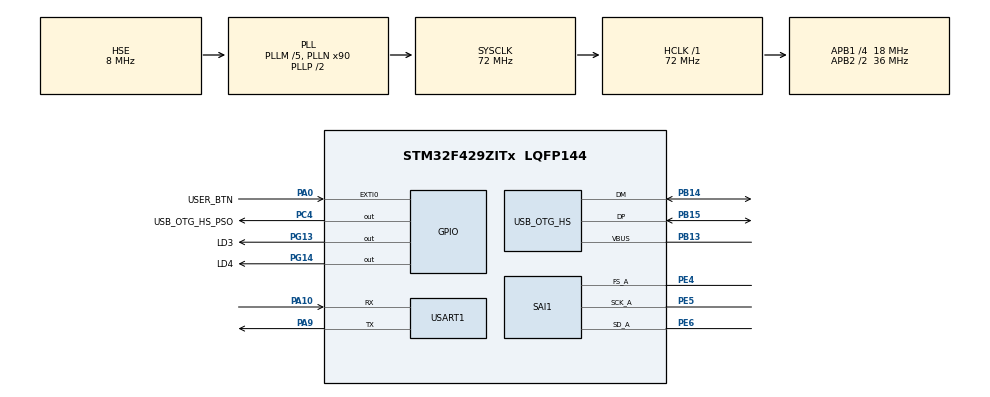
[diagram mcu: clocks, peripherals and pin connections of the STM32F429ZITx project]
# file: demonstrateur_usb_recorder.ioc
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Dma.Request0=SAI1_A
Dma.SAI1_A.0.Direction=DMA_PERIPH_TO_MEMORY
Dma.SAI1_A.0.FIFOMode=DMA_FIFOMODE_DISABLE
Dma.SAI1_A.0.Instance=DMA2_Stream1
Dma.SAI1_A.0.MemDataAlignment=DMA_MDATAALIGN_HALFWORD
Dma.SAI1_A.0.MemInc=DMA_MINC_ENABLE
Dma.SAI1_A.0.Mode=DMA_CIRCULAR
Dma.SAI1_A.0.PeriphDataAlignment=DMA_PDATAALIGN_HALFWORD
Dma.SAI1_A.0.PeriphInc=DMA_PINC_DISABLE
Dma.SAI1_A.0.Priority=DMA_PRIORITY_LOW
FATFS._FS_EXFAT=1
FATFS._MAX_SS=4096
FATFS._USE_LFN=1
Mcu.Family=STM32F4
Mcu.Name=STM32F429ZITx
Mcu.Package=LQFP144
NVIC.DMA2_Stream1_IRQn=true\:0\:0\:false\:false\:true\:false\:true
NVIC.OTG_HS_IRQn=true\:0\:0\:false\:false\:true\:false\:true
NVIC.PriorityGroup=NVIC_PRIORITYGROUP_4
NVIC.TIM6_DAC_IRQn=true\:15\:0\:false\:false\:true\:false\:true
NVIC.TimeBase=TIM6_DAC_IRQn
NVIC.TimeBaseIP=TIM6
PA0/WKUP.GPIO_Label=USER_BTN
PA0/WKUP.GPIO_ModeDefaultEXTI=GPIO_MODE_EVT_RISING
PA0/WKUP.Signal=GPXTI0
PA10.Mode=Asynchronous
PA10.Signal=USART1_RX
PA13.Mode=Serial_Wire
PA13.Signal=SYS_JTMS-SWDIO
PA14.Mode=Serial_Wire
PA14.Signal=SYS_JTCK-SWCLK
PA9.Mode=Asynchronous
PA9.Signal=USART1_TX
PB13.Mode=Activate_VBUS_FS
PB13.Signal=USB_OTG_HS_VBUS
PB14.Mode=Host_FS
PB14.Signal=USB_OTG_HS_DM
PB15.Mode=Host_FS
PB15.Signal=USB_OTG_HS_DP
PC4.GPIO_Label=USB_OTG_HS_PSO
PC4.Signal=GPIO_Output
PE4.Mode=SAI_A_Master
PE4.Signal=SAI1_FS_A
PE5.Mode=SAI_A_Master
PE5.Signal=SAI1_SCK_A
PE6.Mode=SAI_A_Master
PE6.Signal=SAI1_SD_A
PG13.GPIO_Label=LD3
PG13.Signal=GPIO_Output
PG14.GPIO_Label=LD4
PG14.Signal=GPIO_Output
PH0/OSC_IN.Mode=HSE-External-Oscillator
PH0/OSC_IN.Signal=RCC_OSC_IN
PH1/OSC_OUT.Mode=HSE-External-Oscillator
PH1/OSC_OUT.Signal=RCC_OSC_OUT
ProjectManager.HeapSize=0x200
ProjectManager.StackSize=0x400
ProjectManager.TargetToolchain=STM32CubeIDE
RCC.48MHZClocksFreq_Value=48000000
RCC.AHBFreq_Value=72000000
RCC.APB1CLKDivider=RCC_HCLK_DIV4
RCC.APB1Freq_Value=18000000
RCC.APB1TimFreq_Value=36000000
RCC.APB2CLKDivider=RCC_HCLK_DIV2
RCC.APB2Freq_Value=36000000
RCC.APB2TimFreq_Value=72000000
RCC.CortexFreq_Value=72000000
RCC.HCLKFreq_Value=72000000
RCC.HSE_VALUE=8000000
RCC.HSI_VALUE=16000000
RCC.LSE_VALUE=32768
RCC.PLLI2SN=193
RCC.PLLM=5
RCC.PLLN=90
RCC.PLLQ=3
RCC.PLLSAIN=256
RCC.PLLSAIQ=5
RCC.SYSCLKFreq_VALUE=72000000
RCC.SYSCLKSource=RCC_SYSCLKSOURCE_PLLCLK
RCC.VCOOutputFreq_Value=144000000
SAI1.ActiveFrameLength-SAI_A_Master=32
SAI1.AudioFrequency-SAI_A_Master=SAI_AUDIO_FREQUENCY_32K
SAI1.AudioMode-SAI_A_Master=SAI_MODEMASTER_RX
SAI1.ClockStrobing-SAI_A_Master=SAI_CLOCKSTROBING_RISINGEDGE
SAI1.DataSize-SAI_A_Master=SAI_DATASIZE_16
SAI1.ErrorAudioFreq-SAI_A_Master=0.0 %
SAI1.FSDefinition-SAI_A_Master=SAI_FS_CHANNEL_IDENTIFICATION
SAI1.FrameLength-SAI_A_Master=64
SAI1.Instance-SAI_A_Master=SAI$Index_Block_A
SAI1.MClockEnable-SAI_A_Master=SAI_MASTERCLOCK_DISABLE
SAI1.NoDivider-SAI_A_Master=SAI_MASTERDIVIDER_ENABLE
SAI1.RealAudioFreq-SAI_A_Master=32.0 KHz
SAI1.SlotActive-SAI_A_Master=0x0000FFFF
SAI1.SlotNumber-SAI_A_Master=4
SAI1.Synchro_A=SAI_ASYNCHRONOUS
SAI1.VirtualMode-SAI_A_Master=VM_MASTER
SAI1.VirtualSlotActive-SAI_A_Master=SAI_SLOTACTIVE_ALL
USART1.VirtualMode=VM_ASYNC
USB_HOST.BSP.number=1
USB_HOST.USBH_HandleTypeDef-MSC_HS=hUsbHostHS
USB_HOST.VirtualModeHS=Msc
USB_HOST0.BSP.STBoard=false
USB_HOST0.BSP.api=Unknown
USB_HOST0.BSP.i2caddr=0
USB_HOST0.BSP.instance=PC4
USB_HOST0.BSP.ip=GPIO
USB_HOST0.BSP.mode=Output
USB_HOST0.BSP.name=Drive_VBUS_HS
USB_HOST0.BSP.solution=PC4
USB_OTG_HS.VirtualMode-Host_FS=Host_FS
VP_FATFS_VS_USB.Mode=USB
VP_SYS_VS_tim6.Mode=TIM6
VP_TIM1_VS_ClockSourceINT.Mode=Internal
VP_USB_HOST_VS_USB_HOST_MSC_HS.Mode=MSC_HS
board=custom

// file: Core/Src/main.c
/* USER CODE BEGIN Header */
/**
  ******************************************************************************
  * @file           : main.c
  * @brief          : Main program body
  ******************************************************************************
  * @attention
  *
  * <h2><center>&copy; Copyright (c) 2021 STMicroelectronics.
  * All rights reserved.</center></h2>
  *
  * This software component is licensed by ST under BSD 3-Clause license,
  * the "License"; You may not use this file except in compliance with the
  * License. You may obtain a copy of the License at:
  *                        opensource.org/licenses/BSD-3-Clause
  *
  ******************************************************************************
  */
/* USER CODE END Header */
#include "main.h"
#include "fatfs.h"
#include "usb_host.h"

/* USER CODE BEGIN Includes */
#include "pdm_fir.h"
#include <stdlib.h>
#include <string.h>
#include "file_handling.h"
/* USER CODE END Includes */

/* USER CODE BEGIN PTD */
#pragma clang diagnostic push
#pragma ide diagnostic ignored "EndlessLoop"
typedef enum program_state {
    IDLE, RECORDING
} program_state;
/* USER CODE END PTD */

/* USER CODE BEGIN PD */

#define SOUND_FS 32000
#define DECIMATION_FACTOR 64
#define WORD_SIZE 16

#define PDM_BUFFER_SIZE 128
#define PCM_BUFFER_SIZE PDM_BUFFER_SIZE / (DECIMATION_FACTOR / WORD_SIZE) // HERE PCM_BUFFER_SIZE = 128 / (64 / 16) = 32

#define BASE_FILE_NAME "output"

/* USER CODE END PD */

SAI_HandleTypeDef hsai_BlockA1;
DMA_HandleTypeDef hdma_sai1_a;

TIM_HandleTypeDef htim1;

UART_HandleTypeDef huart1;

/* USER CODE BEGIN PV */
//declaring Buffers and Buffer Indexes

uint16_t PDM_buffer[PDM_BUFFER_SIZE * 2]; // Double buffer for HALF READ
uint16_t PCM_buffer[PCM_BUFFER_SIZE];

char output_file[100];

uint8_t sai_flag = 1, sai_half = 0;

extern ApplicationTypeDef Appli_state;
/* USER CODE END PV */

void SystemClock_Config(void);

static void MX_GPIO_Init(void);

static void MX_DMA_Init(void);

static void MX_SAI1_Init(void);

static void MX_USART1_UART_Init(void);

static void MX_TIM1_Init(void);

void MX_USB_HOST_Process(void);

/* USER CODE BEGIN 0 */

// Configuring SAI Interruption Callbacks
void HAL_SAI_RxHalfCpltCallback(SAI_HandleTypeDef *hsai) {
    sai_flag = 0;
    sai_half = 0;
}

void HAL_SAI_RxCpltCallback(SAI_HandleTypeDef *hsai) {
    sai_flag = 0;
    sai_half = 1;
}

// function to Filter a chunk of PDM_DATA
size_t filter_pdm_chunk(struct pdm_fir_filter *filter, uint16_t *pcm_buffer, uint16_t *pdm_buffer, size_t pdm_size,
                        uint16_t decimation, uint16_t linear_gain) {
    uint16_t decimation_words = decimation / WORD_SIZE;
    size_t pcm_to_write = pdm_size / decimation_words;
    for (size_t i = 0; i < pcm_to_write; i++) {
        for (size_t j = 0; j < decimation_words; j++) {
            pdm_fir_flt_put(filter, pdm_buffer[i * decimation_words + j]);
        }
        int32_t received_pcm = pdm_fir_flt_get(filter, 16);
        received_pcm -= 820;
        received_pcm *= linear_gain;
        if (received_pcm > 0x7FFF) received_pcm = 0x7FFF;
        if (received_pcm < -0x7FFF) received_pcm = -0x7FFF;
        //received_pcm += 0x7FFF;
        pcm_buffer[i] = (uint16_t) received_pcm & 0xFFFF;
    }
    return pcm_to_write;
}

/* USER CODE END 0 */

int main(void) {
    /* USER CODE BEGIN 1 */
    // Declaring Initial STATE
    program_state current_state = IDLE;
    //declaring pdm_filter
    struct pdm_fir_filter pdm_filter;

    //initializing Buffers
    for (size_t i = 0; i < PDM_BUFFER_SIZE * 2; i++) PDM_buffer[i] = 0;
    for (size_t i = 0; i < PCM_BUFFER_SIZE; i++) PCM_buffer[i] = 0;

    /* USER CODE END 1 */

    /* MCU Configuration--------------------------------------------------------*/

    /* Reset of all peripherals, Initializes the Flash interface and the Systick. */
    HAL_Init();

    /* Configure the system clock */
    SystemClock_Config();

    /* Initialize all configured peripherals */
    MX_GPIO_Init();
    MX_DMA_Init();
    MX_SAI1_Init();
    MX_USART1_UART_Init();
    MX_FATFS_Init();
    MX_USB_HOST_Init();
    MX_TIM1_Init();
    /* USER CODE BEGIN 2 */
    pdm_fir_flt_init(&pdm_filter);
    HAL_SAI_Receive_DMA(&hsai_BlockA1, (uint8_t *) PDM_buffer, PDM_BUFFER_SIZE * 2);

    char *str_buff = malloc(sizeof(char) * 100);
    sprintf(str_buff, "+----------------------------------------------------------+\r\n");
    HAL_UART_Transmit(&huart1, (uint8_t *) str_buff, strlen(str_buff), HAL_MAX_DELAY);
    sprintf(str_buff, "|                                                          |\r\n");
    HAL_UART_Transmit(&huart1, (uint8_t *) str_buff, strlen(str_buff), HAL_MAX_DELAY);
    sprintf(str_buff, "|                                                          |\r\n");
    HAL_UART_Transmit(&huart1, (uint8_t *) str_buff, strlen(str_buff), HAL_MAX_DELAY);
    sprintf(str_buff, "|                    STM32 USB Recorder                    |\r\n");
    HAL_UART_Transmit(&huart1, (uint8_t *) str_buff, strlen(str_buff), HAL_MAX_DELAY);
    sprintf(str_buff, "|                                                          |\r\n");
    HAL_UART_Transmit(&huart1, (uint8_t *) str_buff, strlen(str_buff), HAL_MAX_DELAY);
    sprintf(str_buff, "|                                                          |\r\n");
    HAL_UART_Transmit(&huart1, (uint8_t *) str_buff, strlen(str_buff), HAL_MAX_DELAY);
    sprintf(str_buff, "+----------------------------------------------------------+\n\r");
    HAL_UART_Transmit(&huart1, (uint8_t *) str_buff, strlen(str_buff), HAL_MAX_DELAY);
    free(str_buff);
    /* USER CODE END 2 */

    /* Infinite loop */
    /* USER CODE BEGIN WHILE */
    uint32_t idle_counter = 0;
    uint64_t pcm_wrote = 0;
    uint32_t file_nbr = 1;
    int32_t cool_down = 0;
    while (1) {
        /* USER CODE END WHILE */
        MX_USB_HOST_Process();

        /* USER CODE BEGIN 3 */
        if (Appli_state == APPLICATION_READY) {
            switch (current_state) {
                case IDLE:
                    if (HAL_GPIO_ReadPin(GPIOA, USER_BTN_Pin) == GPIO_PIN_SET && cool_down == 0) {
                        current_state = RECORDING;
                        pcm_wrote = 0;
                        sprintf(output_file, "%s_%06lu.wav", BASE_FILE_NAME, file_nbr++);
                        (void) init_wav(output_file, SOUND_FS);
                        cool_down = 500;
                        HAL_GPIO_WritePin(GPIOG, LD3_Pin, GPIO_PIN_SET);
                    }
                    //cool_down--;
                    if (cool_down > 0) {
                        cool_down--;
                        HAL_Delay(1);
                    }
                    idle_counter = (idle_counter + 1) % 1000000;
                    break;

                case RECORDING:
                    if (!sai_flag) {
                        uint32_t filtered_words = filter_pdm_chunk(&pdm_filter,
                                                                   PCM_buffer,
                                                                   PDM_buffer + PDM_BUFFER_SIZE * sai_half,
                                                                   PDM_BUFFER_SIZE,
                                                                   DECIMATION_FACTOR, 9);
                        sai_flag = 1;
                        (void) write_wav(PCM_buffer, filtered_words);
                        pcm_wrote += filtered_words;
                        if (HAL_GPIO_ReadPin(GPIOA, USER_BTN_Pin) == GPIO_PIN_SET && cool_down == 0) {
                            current_state = IDLE;
                            (void) finish_wav(output_file, pcm_wrote);
                            HAL_GPIO_WritePin(GPIOG, LD3_Pin, GPIO_PIN_RESET);
                            cool_down = 500;
                        }
                        if (cool_down > 0) {
                            cool_down--;
                        }
                    }
                    break;
                default:
                    break;

            }
        } else {
            if (!sai_flag) { // filtering BUT ignoring output -> Keeping filter up to date
                (void) filter_pdm_chunk(&pdm_filter, PCM_buffer, PDM_buffer + PDM_BUFFER_SIZE * sai_half,
                                        PDM_BUFFER_SIZE, DECIMATION_FACTOR, 1);
                sai_flag = 1;
            }
        }
    }
    /* USER CODE END 3 */
}

void SystemClock_Config(void) {
    RCC_OscInitTypeDef RCC_OscInitStruct = {0};
    RCC_ClkInitTypeDef RCC_ClkInitStruct = {0};

    /** Macro to configure SAI1BlockA clock source selection
    */
    __HAL_RCC_SAI_BLOCKACLKSOURCE_CONFIG(SAI_CLKSOURCE_PLLSAI);
    /** Configure the main internal regulator output voltage
    */
    __HAL_RCC_PWR_CLK_ENABLE();
    __HAL_PWR_VOLTAGESCALING_CONFIG(PWR_REGULATOR_VOLTAGE_SCALE3);
    /** Initializes the RCC Oscillators according to the specified parameters
    * in the RCC_OscInitTypeDef structure.
    */
    RCC_OscInitStruct.OscillatorType = RCC_OSCILLATORTYPE_HSE;
    RCC_OscInitStruct.HSEState = RCC_HSE_ON;
    RCC_OscInitStruct.PLL.PLLState = RCC_PLL_ON;
    RCC_OscInitStruct.PLL.PLLSource = RCC_PLLSOURCE_HSE;
    RCC_OscInitStruct.PLL.PLLM = 5;
    RCC_OscInitStruct.PLL.PLLN = 90;
    RCC_OscInitStruct.PLL.PLLP = RCC_PLLP_DIV2;
    RCC_OscInitStruct.PLL.PLLQ = 3;
    if (HAL_RCC_OscConfig(&RCC_OscInitStruct) != HAL_OK) {
        Error_Handler();
    }
    /** Initializes the CPU, AHB and APB buses clocks
    */
    RCC_ClkInitStruct.ClockType = RCC_CLOCKTYPE_HCLK | RCC_CLOCKTYPE_SYSCLK
                                  | RCC_CLOCKTYPE_PCLK1 | RCC_CLOCKTYPE_PCLK2;
    RCC_ClkInitStruct.SYSCLKSource = RCC_SYSCLKSOURCE_PLLCLK;
    RCC_ClkInitStruct.AHBCLKDivider = RCC_SYSCLK_DIV1;
    RCC_ClkInitStruct.APB1CLKDivider = RCC_HCLK_DIV4;
    RCC_ClkInitStruct.APB2CLKDivider = RCC_HCLK_DIV2;

    if (HAL_RCC_ClockConfig(&RCC_ClkInitStruct, FLASH_LATENCY_2) != HAL_OK) {
        Error_Handler();
    }
}

static void MX_SAI1_Init(void) {

    hsai_BlockA1.Instance = SAI1_Block_A;
    hsai_BlockA1.Init.Protocol = SAI_FREE_PROTOCOL;
    hsai_BlockA1.Init.AudioMode = SAI_MODEMASTER_RX;
    hsai_BlockA1.Init.DataSize = SAI_DATASIZE_16;
    hsai_BlockA1.Init.FirstBit = SAI_FIRSTBIT_MSB;
    hsai_BlockA1.Init.ClockStrobing = SAI_CLOCKSTROBING_RISINGEDGE;
    hsai_BlockA1.Init.Synchro = SAI_ASYNCHRONOUS;
    hsai_BlockA1.Init.OutputDrive = SAI_OUTPUTDRIVE_DISABLE;
    hsai_BlockA1.Init.NoDivider = SAI_MASTERDIVIDER_ENABLE;
    hsai_BlockA1.Init.FIFOThreshold = SAI_FIFOTHRESHOLD_EMPTY;
    hsai_BlockA1.Init.ClockSource = SAI_CLKSOURCE_PLLSAI;
    hsai_BlockA1.Init.AudioFrequency = SAI_AUDIO_FREQUENCY_32K;
    hsai_BlockA1.FrameInit.FrameLength = 64;
    hsai_BlockA1.FrameInit.ActiveFrameLength = 32;
    hsai_BlockA1.FrameInit.FSDefinition = SAI_FS_CHANNEL_IDENTIFICATION;
    hsai_BlockA1.FrameInit.FSPolarity = SAI_FS_ACTIVE_LOW;
    hsai_BlockA1.FrameInit.FSOffset = SAI_FS_FIRSTBIT;
    hsai_BlockA1.SlotInit.FirstBitOffset = 0;
    hsai_BlockA1.SlotInit.SlotSize = SAI_SLOTSIZE_DATASIZE;
    hsai_BlockA1.SlotInit.SlotNumber = 4;
    hsai_BlockA1.SlotInit.SlotActive = 0x0000FFFF;
    if (HAL_SAI_Init(&hsai_BlockA1) != HAL_OK) {
        Error_Handler();
    }

}

static void MX_TIM1_Init(void) {

    TIM_ClockConfigTypeDef sClockSourceConfig = {0};
    TIM_MasterConfigTypeDef sMasterConfig = {0};

    htim1.Instance = TIM1;
    htim1.Init.Prescaler = 0;
    htim1.Init.CounterMode = TIM_COUNTERMODE_UP;
    htim1.Init.Period = 65535;
    htim1.Init.ClockDivision = TIM_CLOCKDIVISION_DIV1;
    htim1.Init.RepetitionCounter = 0;
    htim1.Init.AutoReloadPreload = TIM_AUTORELOAD_PRELOAD_DISABLE;
    if (HAL_TIM_Base_Init(&htim1) != HAL_OK) {
        Error_Handler();
    }
    sClockSourceConfig.ClockSource = TIM_CLOCKSOURCE_INTERNAL;
    if (HAL_TIM_ConfigClockSource(&htim1, &sClockSourceConfig) != HAL_OK) {
        Error_Handler();
    }
    sMasterConfig.MasterOutputTrigger = TIM_TRGO_RESET;
    sMasterConfig.MasterSlaveMode = TIM_MASTERSLAVEMODE_DISABLE;
    if (HAL_TIMEx_MasterConfigSynchronization(&htim1, &sMasterConfig) != HAL_OK) {
        Error_Handler();
    }

}

static void MX_USART1_UART_Init(void) {

    huart1.Instance = USART1;
    huart1.Init.BaudRate = 115200;
    huart1.Init.WordLength = UART_WORDLENGTH_8B;
    huart1.Init.StopBits = UART_STOPBITS_1;
    huart1.Init.Parity = UART_PARITY_NONE;
    huart1.Init.Mode = UART_MODE_TX_RX;
    huart1.Init.HwFlowCtl = UART_HWCONTROL_NONE;
    huart1.Init.OverSampling = UART_OVERSAMPLING_16;
    if (HAL_UART_Init(&huart1) != HAL_OK) {
        Error_Handler();
    }

}

static void MX_DMA_Init(void) {

    /* DMA controller clock enable */
    __HAL_RCC_DMA2_CLK_ENABLE();

    /* DMA interrupt init */
    /* DMA2_Stream1_IRQn interrupt configuration */
    HAL_NVIC_SetPriority(DMA2_Stream1_IRQn, 0, 0);
    HAL_NVIC_EnableIRQ(DMA2_Stream1_IRQn);

}

static void MX_GPIO_Init(void) {
    GPIO_InitTypeDef GPIO_InitStruct = {0};

    /* GPIO Ports Clock Enable */
    __HAL_RCC_GPIOE_CLK_ENABLE();
    __HAL_RCC_GPIOH_CLK_ENABLE();
    __HAL_RCC_GPIOA_CLK_ENABLE();
    __HAL_RCC_GPIOC_CLK_ENABLE();
    __HAL_RCC_GPIOB_CLK_ENABLE();
    __HAL_RCC_GPIOG_CLK_ENABLE();

    /*Configure GPIO pin Output Level */
    HAL_GPIO_WritePin(USB_OTG_HS_PSO_GPIO_Port, USB_OTG_HS_PSO_Pin, GPIO_PIN_RESET);

    /*Configure GPIO pin Output Level */
    HAL_GPIO_WritePin(GPIOG, LD3_Pin | LD4_Pin, GPIO_PIN_RESET);

    /*Configure GPIO pin : USER_BTN_Pin */
    GPIO_InitStruct.Pin = USER_BTN_Pin;
    GPIO_InitStruct.Mode = GPIO_MODE_EVT_RISING;
    GPIO_InitStruct.Pull = GPIO_NOPULL;
    HAL_GPIO_Init(USER_BTN_GPIO_Port, &GPIO_InitStruct);

    /*Configure GPIO pin : USB_OTG_HS_PSO_Pin */
    GPIO_InitStruct.Pin = USB_OTG_HS_PSO_Pin;
    GPIO_InitStruct.Mode = GPIO_MODE_OUTPUT_PP;
    GPIO_InitStruct.Pull = GPIO_NOPULL;
    GPIO_InitStruct.Speed = GPIO_SPEED_FREQ_LOW;
    HAL_GPIO_Init(USB_OTG_HS_PSO_GPIO_Port, &GPIO_InitStruct);

    /*Configure GPIO pins : LD3_Pin LD4_Pin */
    GPIO_InitStruct.Pin = LD3_Pin | LD4_Pin;
    GPIO_InitStruct.Mode = GPIO_MODE_OUTPUT_PP;
    GPIO_InitStruct.Pull = GPIO_NOPULL;
    GPIO_InitStruct.Speed = GPIO_SPEED_FREQ_LOW;
    HAL_GPIO_Init(GPIOG, &GPIO_InitStruct);

}

void HAL_TIM_PeriodElapsedCallback(TIM_HandleTypeDef *htim) {
    if (htim->Instance == TIM6) {
        HAL_IncTick();
    }
}

void Error_Handler(void) {
    __disable_irq();
    while (1) {
    }
}

/************************ (C) COPYRIGHT STMicroelectronics *****END OF FILE****/
